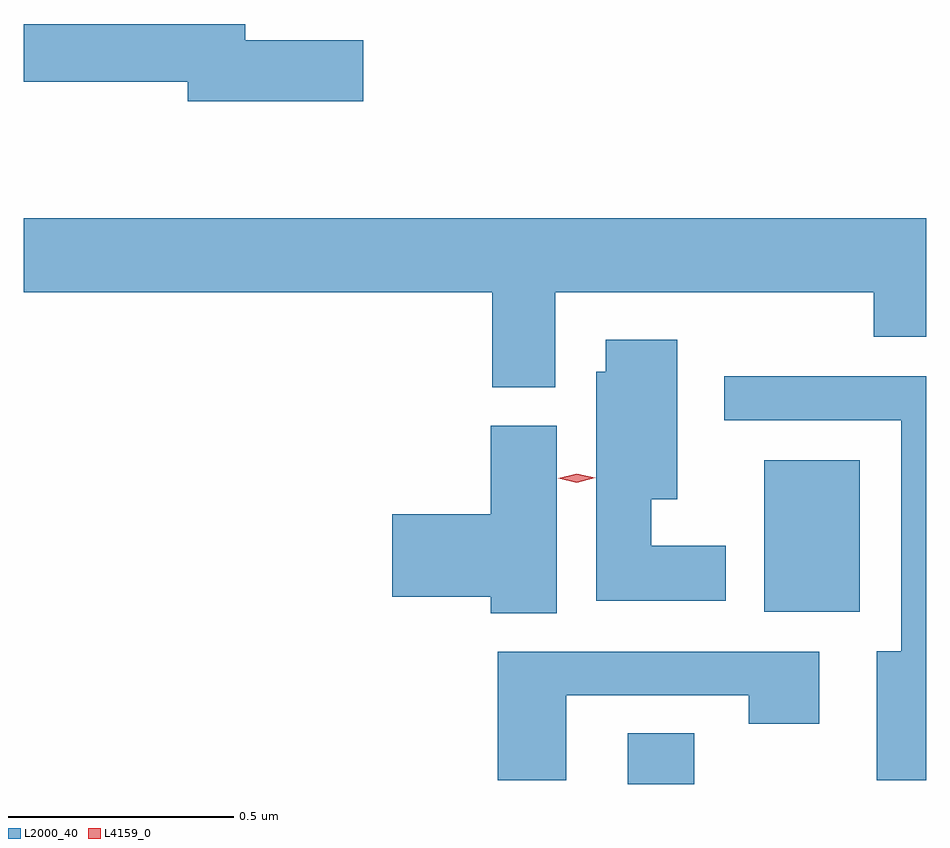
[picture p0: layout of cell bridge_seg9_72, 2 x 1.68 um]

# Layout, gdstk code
import gdstk
lib = gdstk.Library(unit=1e-6, precision=1e-09)
def R(c, l, rs):  # rectangles x0, y0, x1, y1
    for r in rs: c.add(gdstk.rectangle(r[:2], r[2:], *l))
def P(c, l, *ps):  # polygons
    for p in ps: c.add(gdstk.Polygon(p, *l))
L2000_40 = (2000, 40)
L4159_0 = (4159, 0)

bridge_seg9_72 = lib.new_cell('bridge_seg9_72')
R(bridge_seg9_72, L2000_40, [(1026.791,1166.026,1026.939,1166.138), (1027.094,1166.408,1027.306,1166.743)])
P(bridge_seg9_72, L2000_40, [(1026.205,1167.674),(1025.944,1167.674),(1025.944,1167.71),(1025.453,1167.71),(1025.453,1167.582),(1025.816,1167.582),(1025.816,1167.539),(1026.205,1167.539)],
  [(1026.631,1167.116),(1027.336,1167.116),(1027.336,1167.017),(1027.453,1167.017),(1027.453,1167.28),(1025.453,1167.28),(1025.453,1167.116),(1026.491,1167.116),(1026.491,1166.905),(1026.631,1166.905)],
  [(1027.009,1166.554),(1026.844,1166.554),(1026.844,1166.657),(1026.901,1166.657),(1026.901,1167.01),(1026.743,1167.01),(1026.743,1166.94),(1026.722,1166.94),(1026.722,1166.432),(1027.009,1166.432)],
  [(1027.453,1166.93),(1027.005,1166.93),(1027.005,1166.832),(1027.397,1166.832),(1027.397,1166.32),(1027.343,1166.32),(1027.343,1166.034),(1027.453,1166.034)],
  [(1026.634,1166.82),(1026.488,1166.82),(1026.488,1166.624),(1026.27,1166.624),(1026.27,1166.441),(1026.488,1166.441),(1026.488,1166.404),(1026.634,1166.404)],
  [(1026.655,1166.223),(1027.06,1166.223),(1027.06,1166.16),(1027.216,1166.16),(1027.216,1166.319),(1026.503,1166.319),(1026.503,1166.034),(1026.655,1166.034)])
P(bridge_seg9_72, L4159_0, [(1026.678,1166.694),(1026.637,1166.703),(1026.637,1166.703),(1026.637,1166.704),(1026.678,1166.714),(1026.719,1166.705),(1026.719,1166.705),(1026.719,1166.705)])

lib.write_gds('bridge_seg9_72.gds')
